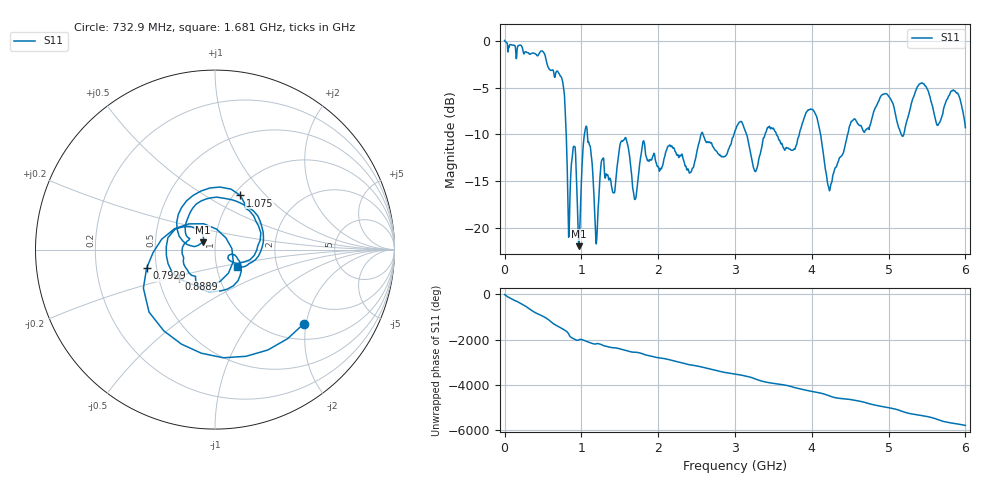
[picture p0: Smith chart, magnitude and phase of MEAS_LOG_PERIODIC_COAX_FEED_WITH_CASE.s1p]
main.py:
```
import re
import matplotlib.pyplot as plt
import skrf as rf

FILE1 = r'MEAS_LOG_PERIODIC_COAX_FEED_WITH_CASE.s1p'
FILE2 = r'MEAS_LOG_PERIODIC_COAX_FEED_WITHOUT_CASE.s1p'
FILE3 = r'SIM_LOG_PERIODIC_COAX_FEED_WITH_CASE.s1p'
FILE4 = r'SIM_LOG_PERIODIC_COAX_FEED_WITHOUT_CASE.s1p'
FILE5 = r'SIM_LOG_PERIODIC_SIMPLIFIED_FEED_WITHOUT_CASE.s1p'

for file in [FILE1, FILE2,FILE3,FILE4,FILE5]:
    with open(file, encoding='cp1252') as f:
        for line in f:
            print(line.rstrip())
            if re.search('#', line):
                break
            else:
                pass
    print('\n')

sedat_1 = rf.Network(FILE1)
sedat_2 = rf.Network(FILE2)
sedat_3 = rf.Network(FILE3)
sedat_4 = rf.Network(FILE4)
sedat_5 = rf.Network(FILE5)

# sedat_1.plot_s_db(m=0,n=0) #S11
# sedat_2.plot_s_db(m=0,n=0) #S11
sedat_3.plot_s_db(m=0,n=0,linestyle = '--',linewidth = 3) #S11
sedat_4.plot_s_db(m=0,n=0,linestyle = '--',linewidth = 3) #S11
sedat_5.plot_s_db(m=0,n=0,linestyle = '--',linewidth = 3) #S11

plt.minorticks_on()
plt.grid(visible=True, which='major', color='black', linestyle='-')
plt.grid(visible=True, which='minor', color='grey', linestyle='--')
plt.show()

# sedat_1.plot_s_smith(m=0,n=0) #S11
sedat_2.plot_s_smith(m=0,n=0) #S11
# sedat_3.plot_s_smith(m=0,n=0,linestyle = '--',linewidth = 3) #S11
sedat_4.plot_s_smith(m=0,n=0,linestyle = '--',linewidth = 3) #S11
# sedat_5.plot_s_smith(m=0,n=0,linestyle = '--',linewidth = 3) #S11

plt.minorticks_on()
plt.grid(visible=True, which='major', color='black', linestyle='-')
plt.grid(visible=True, which='minor', color='grey', linestyle='--')
plt.show()
```
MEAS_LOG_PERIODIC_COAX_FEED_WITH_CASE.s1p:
# GHZ S DB R 50.000000000000
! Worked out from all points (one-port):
!   1001 points, 1 MHz to 6 GHz, reference 50 ohm
!   lowest |S11| = -21.9 dB at 966.8 MHz (marker M1), VSWR 1.17, Z = 43.5 + j3.63 ohm
!   |S11| at or under -10 dB: 1.078 GHz to 2.559 GHz (1.481 GHz wide, 81.4 % of centre); 2.584 GHz to 2.986 GHz (401.8 MHz wide, 14.4 % of centre); 4.114 GHz to 4.467 GHz (352.9 MHz wide, 8.22 % of centre)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
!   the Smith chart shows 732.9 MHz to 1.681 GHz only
!   S11 on the Smith chart (normalised r, x): 732.9 MHz: 1.38, -1.94; 792.9 MHz: 0.44, -0.11; 888.9 MHz: 0.64, -0.22; 1.075 GHz: 1.07, +0.73; 1.681 GHz: 1.25, -0.24
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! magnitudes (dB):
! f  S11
! 1 MHz  0.0
! 732.9 MHz  -3.8
! 792.9 MHz  -8.1
! 888.9 MHz  -11.8
! 966.8 MHz  -21.9
! 1.075 GHz  -9.6
! 1.195 GHz  -21.7
! 1.549 GHz  -10.6
! 1.681 GHz  -16.3
! 2.005 GHz  -13.5
! 4.002 GHz  -7.3
! 4.23 GHz  -16.0
! 4.932 GHz  -5.7
! 6 GHz  -9.3
